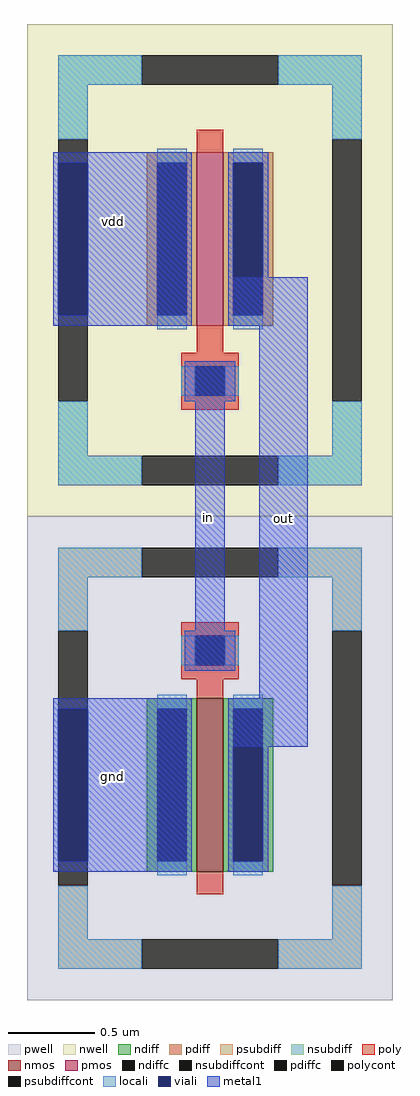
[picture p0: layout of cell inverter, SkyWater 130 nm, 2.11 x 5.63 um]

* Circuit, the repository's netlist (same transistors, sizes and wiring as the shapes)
** sch_path: /home/mtfirmansyah/ic_projects/inverter/lvs/inverter.sch
.subckt inverter in vdd out gnd
*.PININFO in:I vdd:I out:O gnd:I
XM1 out in gnd gnd sky130_fd_pr__nfet_01v8 L=0.15 W=1 nf=1 m=1
XM2 out in vdd vdd sky130_fd_pr__pfet_01v8 L=0.15 W=1 nf=1 m=1
.ends
.end

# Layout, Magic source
magic
tech sky130A
magscale 1 2
<< viali >>
rect -17 737 17 913
rect -17 107 17 283
<< metal1 >>
rect -23 913 137 925
rect -23 737 -17 913
rect 17 737 137 913
rect -23 725 137 737
rect 179 725 271 781
rect 141 333 175 678
rect 215 295 271 725
rect -23 283 137 295
rect -23 107 -17 283
rect 17 107 137 283
rect 179 239 271 295
rect -23 95 137 107
use sky130_fd_pr__nfet_01v8_64Z3AY  XM1
transform 1 0 158 0 1 226
box -211 -279 211 279
use sky130_fd_pr__pfet_01v8_LGS3BL  XM2
transform 1 0 158 0 1 789
box -211 -284 211 284
<< labels >>
flabel metal1 47 845 47 845 0 FreeSans 160 0 0 0 vdd
port 0 nsew
flabel metal1 45 205 45 205 0 FreeSans 160 0 0 0 gnd
port 1 nsew
flabel metal1 156 504 156 504 0 FreeSans 160 0 0 0 in
port 2 nsew
flabel metal1 243 503 243 503 0 FreeSans 160 0 0 0 out
port 3 nsew
<< end >>

# cell sky130_fd_pr__nfet_01v8_64Z3AY: kit device sky130_fd_pr__nfet_01v8, w 1.0 l 0.15 m 1 nf 1 diffcov 100 polycov 100 guard 1 glc 1 grc 1 gtc 1 gbc 1 tbcov 100 rlcov 100 topc 1 botc 0 poverlap 0 doverlap 1 lmin 0.15 wmin 0.42 compatible {sky130_fd_pr__nfet_01v8 sky130_fd_pr__nfet_01v8_lvt sky130_fd_bs_flash__special_sonosfet_star sky130_fd_pr__nfet_g5v0d10v5 sky130_fd_pr__nfet_05v0_nvt sky130_fd_pr__nfet_03v3_nvt} full_metal 1 viasrc 100 viadrn 100 viagate 100 viagb 0 viagr 0 viagl 0 viagt 0

# cell sky130_fd_pr__pfet_01v8_LGS3BL: kit device sky130_fd_pr__pfet_01v8, w 1.0 l 0.15 m 1 nf 1 diffcov 100 polycov 100 guard 1 glc 1 grc 1 gtc 1 gbc 1 tbcov 100 rlcov 100 topc 0 botc 1 poverlap 0 doverlap 1 lmin 0.15 wmin 0.42 compatible {sky130_fd_pr__pfet_01v8 sky130_fd_pr__pfet_01v8_lvt sky130_fd_pr__pfet_01v8_hvt sky130_fd_pr__pfet_g5v0d10v5} full_metal 1 viasrc 100 viadrn 100 viagate 100 viagb 0 viagr 0 viagl 0 viagt 0
